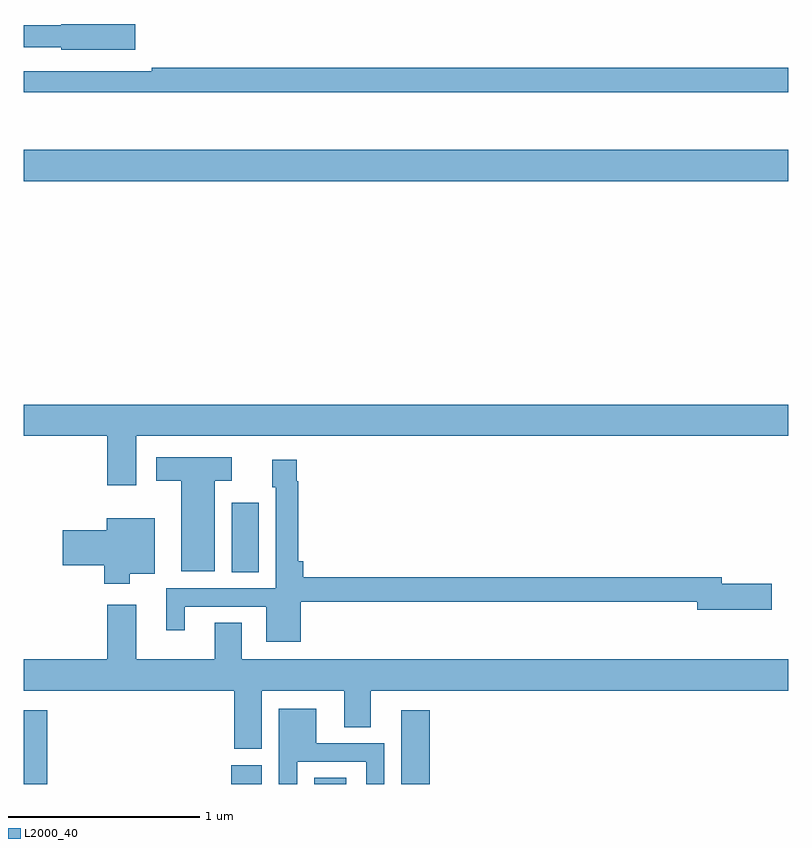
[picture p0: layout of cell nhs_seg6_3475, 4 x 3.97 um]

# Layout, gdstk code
import gdstk
lib = gdstk.Library(unit=1e-6, precision=1e-09)
def R(c, l, rs):  # rectangles x0, y0, x1, y1
    for r in rs: c.add(gdstk.rectangle(r[:2], r[2:], *l))
def P(c, l, *ps):  # polygons
    for p in ps: c.add(gdstk.Polygon(p, *l))
L2000_40 = (2000, 40)

nhs_seg6_3475 = lib.new_cell('nhs_seg6_3475')
R(nhs_seg6_3475, L2000_40, [(315,961.5,315.125,961.885), (316.085,961.5,316.246,961.599), (316.52,961.5,316.687,961.532), (316.976,961.5,317.123,961.885), (316.088,962.608,316.231,962.971), (315,964.652,319,964.816)])
P(nhs_seg6_3475, L2000_40, [(315.583,965.474),(315.198,965.474),(315.198,965.468),(315,965.468),(315,965.352),(315.198,965.352),(315.198,965.339),(315.583,965.339)],
  [(319,965.246),(315.67,965.246),(315.67,965.226),(315,965.226),(315,965.118),(319,965.118)],
  [(315,963.32),(315.437,963.32),(315.437,963.063),(315.589,963.063),(315.589,963.32),(319,963.32),(319,963.484),(315,963.484)],
  [(316,963.086),(316.09,963.086),(316.09,963.208),(315.693,963.208),(315.693,963.086),(315.824,963.086),(315.824,962.612),(316,962.612)],
  [(316.45,962.454),(318.524,962.454),(318.524,962.411),(318.913,962.411),(318.913,962.546),(318.652,962.546),(318.652,962.582),(316.463,962.582),(316.463,962.665),(316.436,962.665),(316.436,963.083),(316.429,963.083),(316.429,963.196),(316.301,963.196),(316.301,963.051),(316.32,963.051),(316.32,962.523),(315.746,962.523),(315.746,962.304),(315.844,962.304),(315.844,962.427),(316.268,962.427),(316.268,962.243),(316.45,962.243)],
  [(315.556,962.6),(315.685,962.6),(315.685,962.89),(315.434,962.89),(315.434,962.828),(315.204,962.828),(315.204,962.645),(315.422,962.645),(315.422,962.546),(315.556,962.546)],
  [(316.246,961.988),(316.676,961.988),(316.676,961.798),(316.816,961.798),(316.816,961.988),(319,961.988),(319,962.152),(316.141,962.152),(316.141,962.342),(316.001,962.342),(316.001,962.152),(315.589,962.152),(315.589,962.437),(315.437,962.437),(315.437,962.152),(315,962.152),(315,961.988),(316.103,961.988),(316.103,961.684),(316.246,961.684)],
  [(316.431,961.617),(316.791,961.617),(316.791,961.5),(316.887,961.5),(316.887,961.713),(316.531,961.713),(316.531,961.894),(316.335,961.894),(316.335,961.5),(316.431,961.5)])

lib.write_gds('nhs_seg6_3475.gds')
